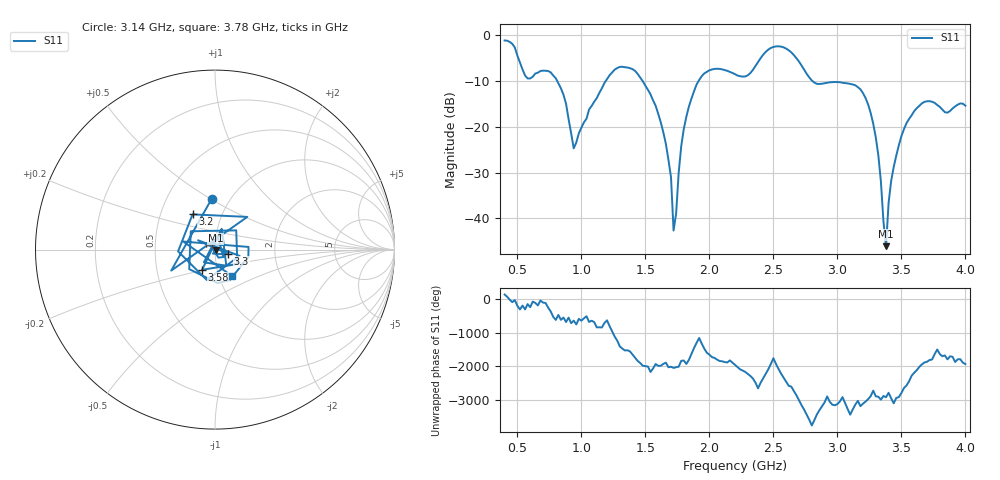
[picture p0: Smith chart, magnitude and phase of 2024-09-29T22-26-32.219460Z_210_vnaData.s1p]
!Created with skrf (http://scikit-rf.org).
# Hz S RI R 50.0
!freq ReS11 ImS11
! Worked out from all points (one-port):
!   181 points, 400 MHz to 4 GHz, reference 50 ohm
!   lowest |S11| = -46.0 dB at 3.38 GHz (marker M1), VSWR 1.01, Z = 50.4 - j0.358 ohm
!   |S11| at or under -10 dB: 810.8 MHz to 1.191 GHz (380 MHz wide, 38 % of centre); 1.478 GHz to 1.916 GHz (438 MHz wide, 25.8 % of centre); 2.804 GHz to end of sweep
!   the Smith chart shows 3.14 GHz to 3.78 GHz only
!   S11 on the Smith chart (normalised r, x): 3.14 GHz: 0.82, +0.51; 3.2 GHz: 0.73, +0.30; 3.3 GHz: 1.16, -0.05; 3.58 GHz: 0.85, -0.19; 3.78 GHz: 1.15, -0.35
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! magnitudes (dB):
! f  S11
! 400 MHz  -1.2
! 580 MHz  -9.5
! 740 MHz  -7.8
! 860 MHz  -13.0
! 940 MHz  -24.7
! 1.3 GHz  -6.9
! 1.42 GHz  -7.8
! 1.58 GHz  -15.4
! 1.7 GHz  -31.0
! 1.72 GHz  -42.6
! 1.74 GHz  -38.9
! 1.76 GHz  -30.0
! 1.8 GHz  -20.5
! 1.9 GHz  -10.8
! 2.2 GHz  -8.5
! 2.5 GHz  -2.6
! 2.66 GHz  -4.4
! 2.84 GHz  -10.6
! 3.1 GHz  -10.6
! 3.14 GHz  -10.9
! 3.2 GHz  -12.7
! 3.3 GHz  -22.3
! 3.38 GHz  -46.0
! 3.42 GHz  -31.8
! 3.56 GHz  -18.3
! 3.58 GHz  -17.5
! 3.78 GHz  -15.2
! 4 GHz  -15.4
